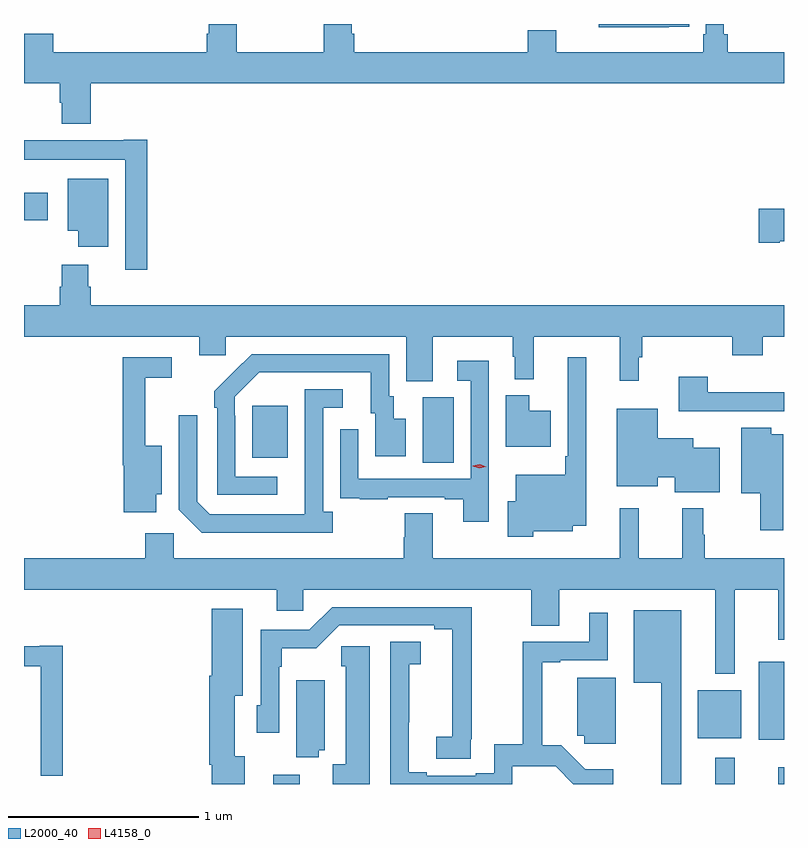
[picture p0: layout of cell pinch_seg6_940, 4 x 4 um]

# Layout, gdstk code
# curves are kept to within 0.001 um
import gdstk
lib = gdstk.Library(unit=1e-6, precision=1e-09)
def R(c, l, rs):  # rectangles x0, y0, x1, y1
    for r in rs: c.add(gdstk.rectangle(r[:2], r[2:], *l))
def P(c, l, *ps):  # polygons
    for p in ps: c.add(gdstk.Polygon(p, *l))
L2000_40 = (2000, 40)
L4158_0 = (4158, 0)

pinch_seg6_940 = lib.new_cell('pinch_seg6_940')
R(pinch_seg6_940, L2000_40, [(293.114,918.341,293.254,918.391), (295.439,918.341,295.543,918.478), (295.771,918.341,295.802,918.43), (295.67,918.575,295.802,918.985), (295.349,918.581,295.576,918.835), (293.9,920.032,294.064,920.376), (293.003,920.057,293.191,920.332), (291.802,921.307,291.928,921.454)])
P(pinch_seg6_940, L2000_40, [(292.154,922.028),(295.802,922.028),(295.802,922.192),(295.505,922.192),(295.505,922.288),(295.486,922.288),(295.486,922.341),(295.389,922.341),(295.389,922.288),(295.376,922.288),(295.376,922.192),(294.604,922.192),(294.604,922.309),(294.452,922.309),(294.452,922.192),(293.54,922.192),(293.54,922.29),(293.527,922.29),(293.527,922.341),(293.38,922.341),(293.38,922.192),(292.923,922.192),(292.923,922.341),(292.775,922.341),(292.775,922.29),(292.763,922.29),(292.763,922.192),(291.956,922.192),(291.956,922.291),(291.802,922.291),(291.802,922.028),(291.989,922.028),(291.989,921.927),(292.001,921.927),(292.001,921.815),(292.154,921.815)],
  [(295.196,922.326),(295.304,922.326),(295.304,922.341),(294.828,922.341),(294.828,922.325),(295.196,922.325)],
  [(292.451,921.733),(292.328,921.733),(292.328,921.73),(291.802,921.73),(291.802,921.626),(292.335,921.626),(292.335,921.048),(292.451,921.048)],
  [(292.246,921.526),(292.031,921.526),(292.031,921.254),(292.088,921.254),(292.088,921.168),(292.246,921.168)],
  [(295.78,921.197),(295.802,921.197),(295.802,921.368),(295.668,921.368),(295.668,921.19),(295.78,921.19)],
  [(293.953,920.696),(294.375,920.696),(294.375,920.589),(294.386,920.589),(294.386,920.471),(294.485,920.471),(294.485,920.696),(294.938,920.696),(294.938,920.463),(295.037,920.463),(295.037,920.588),(295.055,920.588),(295.055,920.696),(295.529,920.696),(295.529,920.597),(295.689,920.597),(295.689,920.696),(295.802,920.696),(295.802,920.86),(292.154,920.86),(292.154,920.958),(292.141,920.958),(292.141,921.073),(292.001,921.073),(292.001,920.958),(291.989,920.958),(291.989,920.86),(291.802,920.86),(291.802,920.696),(292.724,920.696),(292.724,920.598),(292.863,920.598),(292.863,920.696),(293.813,920.696),(293.813,920.461),(293.953,920.461)],
  [(293.134,919.959),(292.914,919.959),(292.914,920.279),(292.911,920.279),(292.911,920.379),(293.04,920.508),(293.627,920.508),(293.627,920.292),(293.651,920.292),(293.651,920.067),(293.812,920.067),(293.812,920.263),(293.749,920.263),(293.749,920.382),(293.724,920.382),(293.724,920.604),(293,920.604),(292.803,920.409),(292.803,920.321),(292.818,920.321),(292.818,919.863),(293.134,919.863)],
  [(294.483,919.67),(294.691,919.67),(294.691,919.7),(294.76,919.7),(294.76,920.587),(294.663,920.587),(294.663,920.065),(294.651,920.065),(294.651,919.969),(294.389,919.969),(294.389,919.828),(294.347,919.828),(294.347,919.643),(294.483,919.643)],
  [(292.498,919.865),(292.528,919.865),(292.528,920.122),(292.439,920.122),(292.439,920.478),(292.579,920.478),(292.579,920.586),(292.321,920.586),(292.321,920.018),(292.328,920.018),(292.328,919.77),(292.498,919.77)],
  [(294.249,920.569),(294.081,920.569),(294.081,920.463),(294.153,920.463),(294.153,919.947),(293.562,919.947),(293.562,920.209),(293.466,920.209),(293.466,919.954),(293.467,919.954),(293.467,919.845),(293.569,919.845),(293.569,919.839),(293.717,919.839),(293.717,919.851),(294.017,919.851),(294.017,919.839),(294.113,919.839),(294.113,919.722),(294.249,919.722)],
  [(295.481,920.304),(295.802,920.304),(295.802,920.402),(295.4,920.402),(295.4,920.485),(295.247,920.485),(295.247,920.303),(295.481,920.303)],
  [(293.428,919.774),(293.376,919.774),(293.376,920.322),(293.479,920.322),(293.479,920.418),(293.28,920.418),(293.279,919.761),(292.779,919.761),(292.713,919.827),(292.713,920.281),(292.617,920.281),(292.617,919.785),(292.738,919.664),(293.428,919.664)],
  [(294.574,920.305),(294.46,920.305),(294.46,920.386),(294.338,920.386),(294.338,920.117),(294.574,920.117)],
  [(295.465,920.11),(295.324,920.11),(295.324,920.161),(295.138,920.161),(295.138,920.317),(294.923,920.317),(294.923,919.907),(295.138,919.907),(295.138,919.955),(295.226,919.955),(295.226,919.877),(295.465,919.877)],
  [(295.798,920.182),(295.735,920.182),(295.735,920.215),(295.577,920.215),(295.577,919.871),(295.676,919.871),(295.676,919.677),(295.798,919.677)],
  [(295.543,919.364),(295.771,919.364),(295.771,919.101),(295.802,919.101),(295.802,919.528),(295.385,919.528),(295.385,919.652),(295.378,919.652),(295.378,919.792),(295.267,919.792),(295.267,919.528),(295.038,919.528),(295.038,919.792),(294.937,919.792),(294.937,919.528),(293.953,919.528),(293.953,919.766),(293.806,919.766),(293.806,919.641),(293.801,919.641),(293.801,919.528),(292.59,919.528),(292.59,919.66),(292.439,919.66),(292.439,919.528),(291.802,919.528),(291.802,919.364),(293.132,919.364),(293.132,919.254),(293.271,919.254),(293.271,919.364),(294.472,919.364),(294.472,919.174),(294.619,919.174),(294.619,919.364),(295.439,919.364),(295.439,918.92),(295.543,918.92)],
  [(294.152,918.577),(294.158,918.577),(294.158,919.272),(293.424,919.272),(293.304,919.152),(293.049,919.152),(293.049,918.756),(293.028,918.756),(293.028,918.612),(293.145,918.612),(293.145,918.959),(293.158,918.959),(293.158,919.055),(293.339,919.055),(293.46,919.176),(293.96,919.176),(293.96,919.156),(294.056,919.156),(294.055,918.59),(293.973,918.59),(293.973,918.475),(294.152,918.475)],
  [(292.963,918.486),(292.912,918.486),(292.912,918.806),(292.954,918.806),(292.954,919.264),(292.79,919.264),(292.79,918.91),(292.778,918.91),(292.778,918.442),(292.79,918.442),(292.79,918.341),(292.963,918.341)],
  [(295.261,919.255),(295.01,919.255),(295.01,918.875),(295.157,918.875),(295.157,918.341),(295.261,918.341)],
  [(294.372,918.434),(294.601,918.434),(294.694,918.341),(294.904,918.341),(294.904,918.418),(294.755,918.418),(294.629,918.544),(294.53,918.544),(294.53,918.981),(294.625,918.981),(294.625,918.993),(294.874,918.993),(294.874,919.243),(294.776,919.243),(294.776,919.089),(294.427,919.089),(294.427,918.551),(294.276,918.551),(294.276,918.398),(294.179,918.398),(294.179,918.384),(293.923,918.384),(293.923,918.404),(293.827,918.404),(293.827,918.667),(293.829,918.667),(293.829,918.971),(293.89,918.971),(293.89,919.091),(293.73,919.091),(293.73,918.341),(294.372,918.341)],
  [(292.007,919.069),(291.884,919.069),(291.884,919.066),(291.802,919.066),(291.802,918.962),(291.891,918.962),(291.891,918.384),(292.007,918.384)],
  [(293.623,919.066),(293.473,919.066),(293.473,918.96),(293.495,918.96),(293.495,918.444),(293.427,918.444),(293.427,918.341),(293.623,918.341)],
  [(294.916,918.901),(294.713,918.901),(294.713,918.596),(294.75,918.596),(294.75,918.554),(294.916,918.554)],
  [(293.354,918.518),(293.386,918.518),(293.386,918.886),(293.234,918.886),(293.234,918.481),(293.354,918.481)])
P(pinch_seg6_940, L4158_0, [(294.199,920.003),(294.164,920.014),(294.164,920.015),(294.164,920.015),(294.2,920.023),(294.236,920.012),(294.236,920.012),(294.236,920.012)])

lib.write_gds('pinch_seg6_940.gds')
